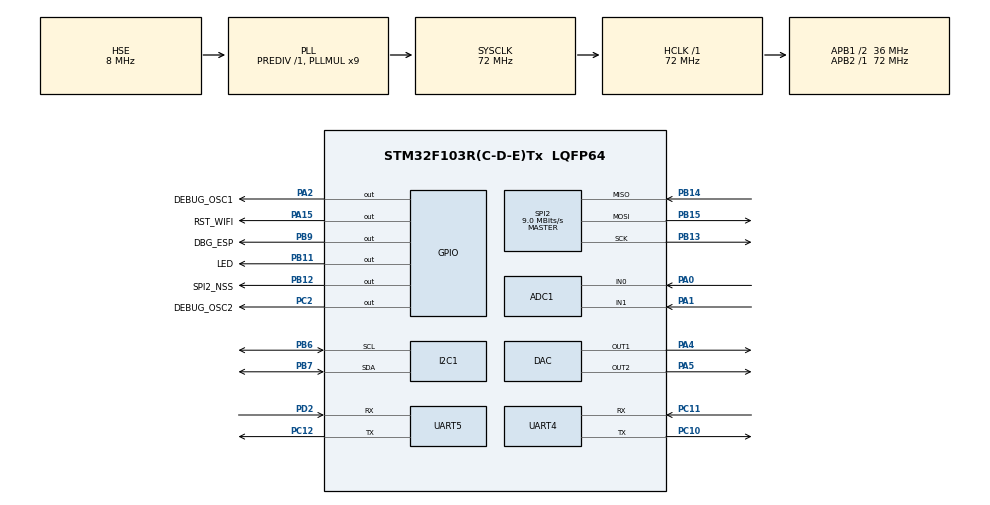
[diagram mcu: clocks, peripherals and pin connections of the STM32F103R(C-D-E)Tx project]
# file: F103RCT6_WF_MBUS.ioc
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ADC1.Channel-0\#ChannelRegularConversion=ADC_CHANNEL_0
ADC1.Channel-1\#ChannelRegularConversion=ADC_CHANNEL_1
ADC1.Channel-2\#ChannelRegularConversion=ADC_CHANNEL_TEMPSENSOR
ADC1.Channel-3\#ChannelRegularConversion=ADC_CHANNEL_VREFINT
ADC1.ContinuousConvMode=ENABLE
ADC1.NbrOfConversion=4
ADC1.NbrOfConversionFlag=1
ADC1.Rank-0\#ChannelRegularConversion=1
ADC1.Rank-1\#ChannelRegularConversion=2
ADC1.Rank-2\#ChannelRegularConversion=3
ADC1.Rank-3\#ChannelRegularConversion=4
ADC1.SamplingTime-0\#ChannelRegularConversion=ADC_SAMPLETIME_239CYCLES_5
ADC1.SamplingTime-1\#ChannelRegularConversion=ADC_SAMPLETIME_239CYCLES_5
ADC1.SamplingTime-2\#ChannelRegularConversion=ADC_SAMPLETIME_239CYCLES_5
ADC1.SamplingTime-3\#ChannelRegularConversion=ADC_SAMPLETIME_239CYCLES_5
ADC1.master=1
DAC.DAC_Trigger=DAC_TRIGGER_T6_TRGO
DAC.DAC_Trigger2=DAC_TRIGGER_T6_TRGO
Dma.ADC1.0.Direction=DMA_PERIPH_TO_MEMORY
Dma.ADC1.0.Instance=DMA1_Channel1
Dma.ADC1.0.MemDataAlignment=DMA_MDATAALIGN_WORD
Dma.ADC1.0.MemInc=DMA_MINC_ENABLE
Dma.ADC1.0.Mode=DMA_CIRCULAR
Dma.ADC1.0.PeriphDataAlignment=DMA_PDATAALIGN_WORD
Dma.ADC1.0.PeriphInc=DMA_PINC_DISABLE
Dma.ADC1.0.Priority=DMA_PRIORITY_LOW
Dma.DAC_CH1.1.Direction=DMA_MEMORY_TO_PERIPH
Dma.DAC_CH1.1.Instance=DMA2_Channel3
Dma.DAC_CH1.1.MemDataAlignment=DMA_MDATAALIGN_WORD
Dma.DAC_CH1.1.MemInc=DMA_MINC_ENABLE
Dma.DAC_CH1.1.Mode=DMA_CIRCULAR
Dma.DAC_CH1.1.PeriphDataAlignment=DMA_PDATAALIGN_WORD
Dma.DAC_CH1.1.PeriphInc=DMA_PINC_DISABLE
Dma.DAC_CH1.1.Priority=DMA_PRIORITY_LOW
Dma.DAC_CH2.2.Direction=DMA_MEMORY_TO_PERIPH
Dma.DAC_CH2.2.Instance=DMA2_Channel4
Dma.DAC_CH2.2.MemDataAlignment=DMA_MDATAALIGN_WORD
Dma.DAC_CH2.2.MemInc=DMA_MINC_ENABLE
Dma.DAC_CH2.2.Mode=DMA_CIRCULAR
Dma.DAC_CH2.2.PeriphDataAlignment=DMA_PDATAALIGN_WORD
Dma.DAC_CH2.2.PeriphInc=DMA_PINC_DISABLE
Dma.DAC_CH2.2.Priority=DMA_PRIORITY_LOW
Dma.Request0=ADC1
Dma.Request1=DAC_CH1
Dma.Request2=DAC_CH2
Mcu.Family=STM32F1
Mcu.Name=STM32F103R(C-D-E)Tx
Mcu.Package=LQFP64
NVIC.DMA1_Channel1_IRQn=true\:0\:0\:false\:false\:true\:false\:true\:true
NVIC.DMA2_Channel3_IRQn=true\:0\:0\:false\:false\:true\:false\:true\:true
NVIC.DMA2_Channel4_5_IRQn=true\:0\:0\:false\:false\:true\:false\:true\:true
NVIC.PriorityGroup=NVIC_PRIORITYGROUP_4
NVIC.TIM2_IRQn=true\:0\:0\:false\:false\:true\:true\:true\:true
NVIC.UART4_IRQn=true\:0\:0\:false\:false\:true\:true\:true\:true
NVIC.UART5_IRQn=true\:0\:0\:true\:false\:true\:true\:true\:true
PA0-WKUP.Signal=ADCx_IN0
PA1.Signal=ADCx_IN1
PA13.Mode=Trace_Asynchronous_SW
PA13.Signal=SYS_JTMS-SWDIO
PA14.Mode=Trace_Asynchronous_SW
PA14.Signal=SYS_JTCK-SWCLK
PA15.GPIO_Label=RST_WIFI
PA15.PinState=GPIO_PIN_SET
PA15.Signal=GPIO_Output
PA2.GPIO_Label=DEBUG_OSC1
PA2.Signal=GPIO_Output
PA4.Signal=COMP_DAC1_group
PA5.Signal=COMP_DAC2_group
PB11.GPIO_Label=LED
PB11.GPIO_Speed=GPIO_SPEED_FREQ_LOW
PB11.Signal=GPIO_Output
PB12.GPIO_Label=SPI2_NSS
PB12.GPIO_Speed=GPIO_SPEED_FREQ_HIGH
PB12.Signal=GPIO_Output
PB13.Mode=Full_Duplex_Master
PB13.Signal=SPI2_SCK
PB14.Mode=Full_Duplex_Master
PB14.Signal=SPI2_MISO
PB15.Mode=Full_Duplex_Master
PB15.Signal=SPI2_MOSI
PB3.Mode=Trace_Asynchronous_SW
PB3.Signal=SYS_JTDO-TRACESWO
PB6.GPIO_Pu=GPIO_PULLUP
PB6.Mode=I2C
PB6.Signal=I2C1_SCL
PB7.GPIO_Pu=GPIO_PULLUP
PB7.Mode=I2C
PB7.Signal=I2C1_SDA
PB9.GPIO_Label=DBG_ESP
PB9.GPIO_Speed=GPIO_SPEED_FREQ_HIGH
PB9.Signal=GPIO_Output
PC10.Mode=Asynchronous
PC10.Signal=UART4_TX
PC11.Mode=Asynchronous
PC11.Signal=UART4_RX
PC12.Mode=Asynchronous
PC12.Signal=UART5_TX
PC2.GPIO_Label=DEBUG_OSC2
PC2.Signal=GPIO_Output
PD0-OSC_IN.Mode=HSE-External-Oscillator
PD0-OSC_IN.Signal=RCC_OSC_IN
PD1-OSC_OUT.Mode=HSE-External-Oscillator
PD1-OSC_OUT.Signal=RCC_OSC_OUT
PD2.Mode=Asynchronous
PD2.Signal=UART5_RX
ProjectManager.HeapSize=0x200
ProjectManager.StackSize=0x400
ProjectManager.TargetToolchain=STM32CubeIDE
RCC.ADCPresc=RCC_ADCPCLK2_DIV6
RCC.AHBFreq_Value=72000000
RCC.APB1CLKDivider=RCC_HCLK_DIV2
RCC.APB1Freq_Value=36000000
RCC.APB1TimFreq_Value=72000000
RCC.APB2Freq_Value=72000000
RCC.APB2TimFreq_Value=72000000
RCC.EnbaleCSS=true
RCC.HCLKFreq_Value=72000000
RCC.PLLMUL=RCC_PLL_MUL9
RCC.PLLSourceVirtual=RCC_PLLSOURCE_HSE
RCC.SYSCLKFreq_VALUE=72000000
RCC.SYSCLKSource=RCC_SYSCLKSOURCE_PLLCLK
RCC.USBFreq_Value=72000000
RTC.Date=25
RTC.Hours=19
RTC.Minutes=30
RTC.Month=RTC_MONTH_MARCH
RTC.Seconds=31
RTC.WeekDay=RTC_WEEKDAY_THURSDAY
SH.ADCx_IN0.0=ADC1_IN0,IN0
SH.ADCx_IN1.0=ADC1_IN1,IN1
SH.COMP_DAC1_group.0=DAC_OUT1,DAC_OUT1
SH.COMP_DAC2_group.0=DAC_OUT2,DAC_OUT2
SPI2.BaudRatePrescaler=SPI_BAUDRATEPRESCALER_4
SPI2.CLKPhase=SPI_PHASE_1EDGE
SPI2.CalculateBaudRate=9.0 MBits/s
SPI2.Direction=SPI_DIRECTION_2LINES
SPI2.Mode=SPI_MODE_MASTER
SPI2.VirtualType=VM_MASTER
TIM2.AutoReloadPreload=TIM_AUTORELOAD_PRELOAD_ENABLE
TIM2.Channel-Output\ Compare1\ No\ Output=TIM_CHANNEL_1
TIM2.OCMode_1=TIM_OCMODE_INACTIVE
TIM2.Period=90
TIM2.Prescaler=72
TIM6.Period=10000-1
TIM6.Prescaler=7200-1
TIM6.TIM_MasterOutputTrigger=TIM_TRGO_UPDATE
UART4.VirtualMode=Asynchronous
UART5.VirtualMode=Asynchronous
VP_ADC1_TempSens_Input.Mode=IN-TempSens
VP_ADC1_Vref_Input.Mode=IN-Vrefint
VP_RTC_VS_RTC_Activate.Mode=RTC_Enabled
VP_RTC_VS_RTC_Calendar.Mode=RTC_Calendar
VP_TIM2_VS_ClockSourceINT.Mode=Internal
VP_TIM2_VS_OPM.Mode=OPM_bit
VP_TIM2_VS_no_output1.Mode=Output Compare1 No Output
VP_TIM6_VS_ClockSourceINT.Mode=Enable_Timer
board=custom

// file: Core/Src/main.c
/* USER CODE BEGIN Header */
/**
  ******************************************************************************
  * @file           : main.c
  * @brief          : Main program body
  ******************************************************************************
  * @attention
  *
  * <h2><center>&copy; Copyright (c) 2021 STMicroelectronics.
  * All rights reserved.</center></h2>
  *
  * This software component is licensed by ST under BSD 3-Clause license,
  * the "License"; You may not use this file except in compliance with the
  * License. You may obtain a copy of the License at:
  *                        opensource.org/licenses/BSD-3-Clause
  *
  ******************************************************************************
  */
/* USER CODE END Header */
#include "main.h"

/* USER CODE BEGIN Includes */
#include "ESP8266_Chelo.h"
#include "ModBUS_Chelo.h"
#include "STR_Chelo.h"
#include "ETH_W5100.h"
#include "string.h"
#include "stdio.h"
/* USER CODE END Includes */

/* USER CODE BEGIN PD */
#define TOK 1
#define FIND 0
#define SERVIDOR 1
#define CLIENTE 0
/* USER CODE END PD */

/* USER CODE BEGIN PM */
#define ITM_Port32(n)   (*((volatile unsigned long *)(0xE0000000+4*n)))
/* USER CODE END PM */

ADC_HandleTypeDef hadc1;
DMA_HandleTypeDef hdma_adc1;

DAC_HandleTypeDef hdac;
DMA_HandleTypeDef hdma_dac_ch1;
DMA_HandleTypeDef hdma_dac_ch2;

I2C_HandleTypeDef hi2c1;

RTC_HandleTypeDef hrtc;

SPI_HandleTypeDef hspi2;

TIM_HandleTypeDef htim2;
TIM_HandleTypeDef htim6;

UART_HandleTypeDef huart4;
UART_HandleTypeDef huart5;

/* USER CODE BEGIN PV */
uint32_t ms_ticks=0,
		 min_ticks=0;

uint32_t ADC_VAL[4];
uint32_t DAC_VAL[2];
uint32_t DAC_VAL2[2];

struct WIFI wf;
struct MBUS mb_eth;			// Instancia Ethernet
struct MBUS mb_wf;		// Instancia Wi-Fi

char post[512];
char body[512];
char ENDPOINT[]="/tepelco/add",
     SERVER_IP[]="192.168.0.91",
     PORT[]="8000";
uint16_t ADDR=1;

uint8_t ETH_DBG_EN=0;
uint8_t WF_SND_FLAG=0;
int wf_snd_flag_ticks=0;

uint32_t REG[254];		//Registros para ver ModBUS

struct W5100_SPI ETH; // Instancia de la comunicación Ethernet
// ****** Begin Firmware Registers ****** //

uint16_t W5100_socket0_STATUS ;

// ****** End Firmware Registers ****** //

// ****** Begin Socket Memory assignment ****** //
uint16_t 	S0_get_size = 0,
			S0_get_offset = 0,
			S0_RX_RD = 0,
			S0_get_start_address = 0,
			tx_mem_pointer=0,
			rx_mem_pointer=0,
			destination_addr=0,
			left_size=0,
			upper_size=0,
			S0_READ_RX_RD=0,
			S0_bf_rcv_offset=0,

			Sn_TX_WR=0,
			get_offset=0,
			get_free_size=0,
			get_start_address=0,
			source_addr=0,
			send_size=0;

// ****** End Socket Memory assignment ****** //
uint8_t spi_Data[64],
		spi_no_debug=0;

uint8_t ESP_REinit=0,			//Conteo de intentos de incializacion
		ESP_InitF=0,			//Flag de error por no encontrar la sentencia
		ESP_HW_Init=0,
		EN_UART2_TMR=0,
		EN_UART1_TMR=0,
		FLAG_TIMEOUT=0,
		FLAG_UART2=0,
		resultado=0,
		error_rxdata=0,
		debug_ser=1,
		esp_restart=0,
		conexion,
		asc=0,
		//--------debug----//
		CP_ready=0,
		CP_ai=0;
		SPI_READ_EN=0;

char	UART_RX_vect[512],
		datarx_uart1[512],
		datarx1[2],
		UART_RX_vect_hld[512],
		WIFI_NET[]="PLC_DEV",//WIFI_NET[]="Fibertel WiFi967 2.4GHz",//WIFI_NET[]="PLC_DEV",//
		WIFI_PASS[]="12345678",//WIFI_PASS[]="0042880756",//WIFI_PASS[]="12345678",//
		TCP_SERVER[]="192.168.0.91",//TCP_SERVER[]="192.168.0.65",//TCP_SERVER[]="192.168.0.102",//TCP_SERVER[]="192.168.0.47",
		TCP_PORT[]="8000",//TCP_PORT[]="502",
		TCP_SERVER_LOCAL[]="192.168.0.32",//TCP_SERVER[]="192.168.0.47",
		TCP_SERVER_LOCAL_GWY[]="192.168.0.100",//TCP_SERVER[]="192.168.0.47",
		TCP_SERVER_LOCAL_MSK[]="255.255.255.0",//TCP_SERVER[]="192.168.0.47",
		TCP_PORT_LOCAL[]="502",
		RX2[]="RX.",
		//RX[512],
		CMP_VECT[]="\0",
	    TESTA[32],
		TESTB[32],
		TESTC[32],
		UART_RX_byte[2];

int UART_RX_items=0,
    ESP_ticks=0,
	MBUS_ticks=0,
	MB_TOUT_ticks=0,
	items_rx_debug=0,
    ticks=0,
	ntesta=17,
	ntestb=4,
	ntestc=0,
	postesta=0,
	funcion=0,
	uart1pass=0,
	UART1_ticks=0,
	FLAG_UART1=0,
	chr_pos=0,
	items_rx=0,

	UART_RX_pos=0;

long dbgn=0;

/* USER CODE END PV */

void SystemClock_Config(void);
static void MX_GPIO_Init(void);
static void MX_DMA_Init(void);
static void MX_ADC1_Init(void);
static void MX_RTC_Init(void);
static void MX_DAC_Init(void);
static void MX_TIM6_Init(void);
static void MX_UART4_Init(void);
static void MX_TIM2_Init(void);
static void MX_UART5_Init(void);
static void MX_I2C1_Init(void);
static void MX_SPI2_Init(void);
/* USER CODE BEGIN PFP */
uint8_t ESP8266_HW_Init(UART_HandleTypeDef *);
void ESP8266_HW_Reset(void);
void Actualizar_RXdata(int );
void BorrarVect(void);
/* USER CODE END PFP */

int main(void)
{
  /* USER CODE BEGIN 1 */

	//----------------------- ETHERNET W5100 Environment-------------------------//

	//	GATEWAY ADDRESS
		ETH.GAR[0]=192;
		ETH.GAR[1]=168;
		ETH.GAR[2]=0;
		ETH.GAR[3]=1;
	//	SUBNET MASK
		ETH.SUBR[0]=255;
		ETH.SUBR[1]=255;
		ETH.SUBR[2]=255;
		ETH.SUBR[3]=0;
	//	MAC ADDRESS
		ETH.SHAR[0]=0x00;
		ETH.SHAR[1]=0x08;
		ETH.SHAR[2]=0xDC;
		ETH.SHAR[3]=0x00;
		ETH.SHAR[4]=0x00;
		ETH.SHAR[5]=0x01;

	//	IP ADDRESS
		ETH.SIPR[0]=192;
		ETH.SIPR[1]=168;
		ETH.SIPR[2]=0;
		ETH.SIPR[3]=34,
	//  Socket RX memory
		ETH.RMSR=0x55;
	//  Socket TX memory
		ETH.TMSR=0x55;
	//  S0 Port Number
		ETH.S0_PORT[0]=0x01;
		ETH.S0_PORT[1]=0xF6;
	//	S0 Client IP ADDRESS
		ETH.S0_DIPR[0]=192;
		ETH.S0_DIPR[1]=168;
		ETH.S0_DIPR[2]=0;
		ETH.S0_DIPR[3]=3;
	//	S0 Client IP ADDRESS
		ETH.S0_DPORT[0]=0x01;
		ETH.S0_DPORT[1]=0xF6;

		ETH.gS0_RX_BASE = 0x6000;
		ETH.gS0_RX_MASK = 0x07FF;
		ETH.gS1_RX_BASE = 0x6800;
		ETH.gS1_RX_MASK = 0x07FF;
		ETH.gS2_RX_BASE = 0x7000;
		ETH.gS2_RX_MASK = 0x07FF;
		ETH.gS3_RX_BASE = 0x7800;
		ETH.gS3_RX_MASK = 0x07FF;
		ETH.gS0_TX_BASE = 0x4000;
		ETH.gS0_TX_MASK = 0x07FF;
		ETH.gS1_TX_BASE = 0x4800;
		ETH.gS1_TX_MASK = 0x07FF;
		ETH.gS2_TX_BASE = 0x5000;
		ETH.gS2_TX_MASK = 0x07FF;
		ETH.gS3_TX_BASE = 0x5800;
		ETH.gS3_TX_MASK = 0x07FF;

		ETH.S0_ENserver = 0;			//Actúa como servidor S0_ENserver=1 o cliente S0_ENserver=0

		//----------------------- ETHERNET W5100 Environment-------------------------//

	  //----------------------- WIFI ------------------------//
 	  	Inicializar(&wf); 									//Borra todos los registros de la estructura
		strcpy(wf._WF_Net, WIFI_NET);						//Nombre de la red WIFI  a conectar Fibertel WiFi967 2.4GHz
		strcpy(wf._WF_Pass, WIFI_PASS);						//Password de la red WIFI
		strcpy(wf._TCP_Remote_Server_IP, TCP_SERVER);		//char _TCP_Remote_Server_IP[16];		//IP del Servidor TCP
		strcpy(wf._TCP_Remote_Server_Port, TCP_PORT);		//char _TCP_Remote_Server_Port[16];			//Puerto del Servidor TCP
		strcpy(wf._TCP_Local_Server_IP, TCP_SERVER_LOCAL);
		strcpy(wf._TCP_Local_Server_GWY, TCP_SERVER_LOCAL_GWY);
		strcpy(wf._TCP_Local_Server_MSK, TCP_SERVER_LOCAL_MSK);
		strcpy(wf._TCP_Local_Server_Port, TCP_PORT_LOCAL);
		wf._TCP_Local_Server_EN=0;							//Habilito el Servidor Local
		wf._data2SND[0]=0x00;//strcpy(wf._data2SND,"01;03;00;00;00;0A;C5;CD");//strcpy(wf._data2SND,"20;352;52#");
		wf._data2SND[1]=0x00;
		wf._data2SND[2]=0x00;
		wf._data2SND[3]=0x00;
		wf._data2SND[4]=0x00;
		wf._data2SND[5]=0x06;
		wf._data2SND[6]=0x01;
		wf._data2SND[7]=0x03;
		wf._data2SND[8]=0x00;//strcpy(wf._data2SND,"01;03;00;00;00;0A;C5;CD");//strcpy(wf._data2SND,"20;352;52#");
		wf._data2SND[9]=0x00;
		wf._data2SND[10]=0x00;
		wf._data2SND[11]=0x0A;
		wf._data2SND[12]=0x00;
		wf._data2SND[13]=0x33;
		wf._data2SND[14]=0x34;
		wf._data2SND[15]=0x35;
		wf._n_D2SND=12;
		wf._estado_conexion=100;//Si no se define no arranca	//wf._estado_conexion=1;					//Arranco en WiFi Desconectado
		wf._automatizacion=WF_CONNECT_TCP;//wf._automatizacion=WF_SEND;
		//wf._send_data=1;
		// ----------- INICIO - Seteo de módulo Ethernet W5100 ----------- //
	    // Conectado a SPI2
		// PIN NSS - PortB 12
		spi_no_debug=1;
		ETH.NSS_PORT=GPIOB;
		ETH.NSS_PIN=GPIO_PIN_12;
		ETH.SPI= &hspi2;

		// ----------- FIN - Seteo de módulo Ethernet W5100 ----------- //

	 //----------------------- WIFI ------------------------//

	 //---------------------- ModBUS -----------------------//

		ModBUS_Config(&mb_eth);		//ETHERNET como cliente TCP envía  ModBUS
		mb_eth._mode = CLIENTE;
		ModBUS_Config(&mb_wf);	//WIFI como servidor TCP, recibe comadno ModBUS
		mb_wf._mode = CLIENTE;
		ModBUS_F03_Assign(&mb_wf,3,0xAA55);

	 //---------------------- ModBUS -----------------------//

  /* USER CODE END 1 */

  /* MCU Configuration--------------------------------------------------------*/

  /* Reset of all peripherals, Initializes the Flash interface and the Systick. */
  HAL_Init();

  /* Configure the system clock */
  SystemClock_Config();

  /* USER CODE BEGIN SysInit */
  SysTick_Config(SystemCoreClock/1000);
  /* USER CODE END SysInit */

  /* Initialize all configured peripherals */
  MX_GPIO_Init();
  MX_DMA_Init();
  MX_ADC1_Init();
  MX_RTC_Init();
  MX_DAC_Init();
  MX_TIM6_Init();
  MX_UART4_Init();
  MX_TIM2_Init();
  MX_UART5_Init();
  MX_I2C1_Init();
  MX_SPI2_Init();
  /* USER CODE BEGIN 2 */
  ITM0_Write("\r\n INICIO OK\r\n",strlen("\r\n INICIO OK\r\n"));
  ESP8266_HW_Reset();	//WRNNG Hardcoded	  //Reseteo el modulo desde el pin de RESET
  if (wf._DBG_EN) ITM0_Write("\r\n RESET ESP8266 \r\n",strlen("\r\n RESET ESP8266 \r\n"));
  HAL_TIM_Base_Start(&htim6); //Timer como base de tiempo
  HAL_UART_Receive_IT(&huart4,(uint8_t *)UART_RX_byte,1);
  //HAL_UART_Receive_IT(&huart5,(uint8_t *)datarx1,1); //Habilito recepción por puerto serie 5
  if (ETH_DBG_EN)ITM0_Write("\r\n SET-UP W5100 \r\n",strlen("\r\n SET-UP W5100 \r\n"));
  //HAL_GPIO_WritePin(GPIOB, GPIO_PIN_6, GPIO_PIN_RESET);
	 ETH.operacion=SPI_WRITE;
	 ETH.TX[1]= 0;
	 ETH.TX[2]= 1;
	 ETH.TX[3]= 192;

	 eth_init(&ETH);

	 eth_socket_init(&ETH,0);

SPI_READ_EN=1;
ETH.operacion=SPI_READ;
ETH.TX[1]= 0;
ETH.TX[2]= 1;
ETH.TX[3]= 0;

  if(ESP8266_HW_Init(&huart4)==1)
  {
	  ESP_HW_Init=1;
	  //HAL_UART_Transmit(&huart5, "\r\n ESP HW Init OK\r\n",strlen("\r\n ESP HW Init OK\r\n"),100);
	  if (wf._DBG_EN) ITM0_Write("\r\n ESP HW Init OK\r\n",strlen("\r\n ESP HW Init OK\r\n"));
  }
  else
  {
	  ESP8266_HW_Reset(); //WRNNG Hardcoded
	  if(ESP8266_HW_Init(&huart4)==1)
	  {
		  ESP_HW_Init=1;
		  //HAL_UART_Transmit(&huart5, "\r\n ESP HW Init OK\r\n",strlen("\r\n ESP HW Init OK\r\n"),100);
		  if (wf._DBG_EN) ITM0_Write("\r\n ESP HW Init OK\r\n",strlen("\r\n ESP HW Init OK\r\n"));
	  }
	  else
	  {
		  ESP_HW_Init=0;
		  //HAL_UART_Transmit(&huart5, "\r\n ESP HW Init Fail\r\n",strlen("\r\n ESP HW Init Fail\r\n"),100);
		  if (wf._DBG_EN)  ITM0_Write("\r\n ESP HW Init Fail\r\n",strlen("\r\n ESP HW Init Fail\r\n"));
	  }
  }

  HAL_Delay(1000);

  /* USER CODE END 2 */

  /* Infinite loop */
  /* USER CODE BEGIN WHILE */
  while (1)
  {//2
    /* USER CODE END WHILE */

    /* USER CODE BEGIN 3 */
//----------------INSTRUCCIONS POR PUERTO SERIE---------------------

//----------------INSTRUCCIONS POR PUERTO SERIE---------------------

/**************[ INICIO PIDO ENVIAR DATOS ]**************/

	  if (ESP_HW_Init==1)
	  {
			if((WF_SND_FLAG==1)&&(wf._TCP_Local_Server_EN==0)&&(wf._estado_conexion>=609)&&(ETH.S0_data_available))
			{	ETH.S0_data_available=0;
				wf_snd_flag_ticks=0;
				WF_SND_FLAG=0;
				/*ModBUS_F03_Request(&mb_wf, 0 , 10);
				ModBUS(&mb_wf);							// Create ModBUS info to be sent
				CopiaVector(wf._data2SND,mb_wf._MBUS_2SND,mb_wf._n_MBUS_2SND,0,'A');
				wf._n_D2SND=mb_wf._n_MBUS_2SND;*/

				if( httpPOST(	ENDPOINT, SERVER_IP,PORT,
								ModBUS_F03_Read(&mb_eth,0),
								ModBUS_F03_Read(&mb_eth,1),
								ModBUS_F03_Read(&mb_eth,2),
								ModBUS_F03_Read(&mb_eth,3),
								ModBUS_F03_Read(&mb_eth,4),
								ModBUS_F03_Read(&mb_eth,5),
								ModBUS_F03_Read(&mb_eth,6),
								ModBUS_F03_Read(&mb_eth,7),
								ModBUS_F03_Read(&mb_eth,8),
								ModBUS_F03_Read(&mb_eth,9),
								ADDR,
								post, body, 512))

				{
							CopiaVector(wf._data2SND,post,strlen(post),0,'A');
							wf._n_D2SND=strlen(post);
							if(wf._automatizacion < WF_SEND)		// Send only with automation sent diasabled
							{
								EnviarDatos(&wf);
								wf._estado_conexion=TCP_SND_EN_CURSO;
							}
				}
			}
	  }
/**************[ FIN PIDO ENVIAR DATOS ]**************/

		if ((FLAG_UART2==1)||(FLAG_TIMEOUT==1))  //Si recibí datos o me fui por TimeOUT
		{
			if(FLAG_UART2==1)
				{
					CopiaVector(wf._uartRCVD,UART_RX_vect_hld,UART_RX_items,1,CMP_VECT);
					FLAG_UART2=0;

						if (error_rxdata==3)
						{
							error_rxdata=0;
						}
						if (error_rxdata==1)
						{
							error_rxdata=5;
							error_rxdata=0;
						}
				}
			if(FLAG_TIMEOUT==1)
					{
						FLAG_TIMEOUT=0;
					}

			if (ESP_HW_Init==1) //Si el módulo se inició correctamente
				{
					/*************** Copio y proceso info recibida ***************/
					wf._n_orig=UART_RX_items;
					CopiaVector(wf._uartRCVD,UART_RX_vect_hld,UART_RX_items,1,CMP_VECT);
					resultado=AT_ESP8266_ND(&wf);

					/*************** Si recibo datos y estan correctos me fijo que son ***************/

					if ((wf._new_data_rcv==1)&&(wf._estado_rcv_data==99))
					{

						CopiaVector(mb_wf._MBUS_RCVD,wf._dataRCV,wf._n_dataRCV,0,'A');
						mb_wf._n_MBUS_RCVD=wf._n_dataRCV;

						ModBUS(&mb_wf);

						CopiaVector(wf._data2SND,mb_wf._MBUS_2SND,mb_wf._n_MBUS_2SND,0,'A');
						wf._n_D2SND=mb_wf._n_MBUS_2SND;
						wf._new_data_rcv=0;//
						wf._send_data=1;
					}else
						{
							// DATA ERRONEA NO SE PROCESA
						}
					}

		}

		if (ESP_HW_Init==1) //Si el módulo se inició correctamente
			{
				conexion=WiFi_Conn_ND(&wf,&huart4,1);	//Tiene que ir en el main el chequeo es constante
			}
		if (esp_restart==1) //WRNNG Hardcoded RESET WIFI
			{
				HAL_GPIO_WritePin(GPIOA, GPIO_PIN_15, GPIO_PIN_RESET);
				HAL_Delay(2000);//210419
				HAL_GPIO_WritePin(GPIOA, GPIO_PIN_15, GPIO_PIN_SET);
				HAL_Delay(5000);//210419
				esp_restart=0;
			}

  }//2
  /* USER CODE END 3 */
}

void SystemClock_Config(void)
{
  RCC_OscInitTypeDef RCC_OscInitStruct = {0};
  RCC_ClkInitTypeDef RCC_ClkInitStruct = {0};
  RCC_PeriphCLKInitTypeDef PeriphClkInit = {0};

  /** Initializes the RCC Oscillators according to the specified parameters
  * in the RCC_OscInitTypeDef structure.
  */
  RCC_OscInitStruct.OscillatorType = RCC_OSCILLATORTYPE_LSI|RCC_OSCILLATORTYPE_HSE;
  RCC_OscInitStruct.HSEState = RCC_HSE_ON;
  RCC_OscInitStruct.HSEPredivValue = RCC_HSE_PREDIV_DIV1;
  RCC_OscInitStruct.HSIState = RCC_HSI_ON;
  RCC_OscInitStruct.LSIState = RCC_LSI_ON;
  RCC_OscInitStruct.PLL.PLLState = RCC_PLL_ON;
  RCC_OscInitStruct.PLL.PLLSource = RCC_PLLSOURCE_HSE;
  RCC_OscInitStruct.PLL.PLLMUL = RCC_PLL_MUL9;
  if (HAL_RCC_OscConfig(&RCC_OscInitStruct) != HAL_OK)
  {
    Error_Handler();
  }

  /** Initializes the CPU, AHB and APB buses clocks
  */
  RCC_ClkInitStruct.ClockType = RCC_CLOCKTYPE_HCLK|RCC_CLOCKTYPE_SYSCLK
                              |RCC_CLOCKTYPE_PCLK1|RCC_CLOCKTYPE_PCLK2;
  RCC_ClkInitStruct.SYSCLKSource = RCC_SYSCLKSOURCE_PLLCLK;
  RCC_ClkInitStruct.AHBCLKDivider = RCC_SYSCLK_DIV1;
  RCC_ClkInitStruct.APB1CLKDivider = RCC_HCLK_DIV2;
  RCC_ClkInitStruct.APB2CLKDivider = RCC_HCLK_DIV1;

  if (HAL_RCC_ClockConfig(&RCC_ClkInitStruct, FLASH_LATENCY_2) != HAL_OK)
  {
    Error_Handler();
  }
  PeriphClkInit.PeriphClockSelection = RCC_PERIPHCLK_RTC|RCC_PERIPHCLK_ADC;
  PeriphClkInit.RTCClockSelection = RCC_RTCCLKSOURCE_LSI;
  PeriphClkInit.AdcClockSelection = RCC_ADCPCLK2_DIV6;
  if (HAL_RCCEx_PeriphCLKConfig(&PeriphClkInit) != HAL_OK)
  {
    Error_Handler();
  }

  /** Enables the Clock Security System
  */
  HAL_RCC_EnableCSS();
}

static void MX_ADC1_Init(void)
{

  ADC_ChannelConfTypeDef sConfig = {0};

  /** Common config
  */
  hadc1.Instance = ADC1;
  hadc1.Init.ScanConvMode = ADC_SCAN_ENABLE;
  hadc1.Init.ContinuousConvMode = ENABLE;
  hadc1.Init.DiscontinuousConvMode = DISABLE;
  hadc1.Init.ExternalTrigConv = ADC_SOFTWARE_START;
  hadc1.Init.DataAlign = ADC_DATAALIGN_RIGHT;
  hadc1.Init.NbrOfConversion = 4;
  if (HAL_ADC_Init(&hadc1) != HAL_OK)
  {
    Error_Handler();
  }

  /** Configure Regular Channel
  */
  sConfig.Channel = ADC_CHANNEL_0;
  sConfig.Rank = ADC_REGULAR_RANK_1;
  sConfig.SamplingTime = ADC_SAMPLETIME_239CYCLES_5;
  if (HAL_ADC_ConfigChannel(&hadc1, &sConfig) != HAL_OK)
  {
    Error_Handler();
  }

  /** Configure Regular Channel
  */
  sConfig.Channel = ADC_CHANNEL_1;
  sConfig.Rank = ADC_REGULAR_RANK_2;
  if (HAL_ADC_ConfigChannel(&hadc1, &sConfig) != HAL_OK)
  {
    Error_Handler();
  }

  /** Configure Regular Channel
  */
  sConfig.Channel = ADC_CHANNEL_TEMPSENSOR;
  sConfig.Rank = ADC_REGULAR_RANK_3;
  if (HAL_ADC_ConfigChannel(&hadc1, &sConfig) != HAL_OK)
  {
    Error_Handler();
  }

  /** Configure Regular Channel
  */
  sConfig.Channel = ADC_CHANNEL_VREFINT;
  sConfig.Rank = ADC_REGULAR_RANK_4;
  if (HAL_ADC_ConfigChannel(&hadc1, &sConfig) != HAL_OK)
  {
    Error_Handler();
  }

}

static void MX_DAC_Init(void)
{

  DAC_ChannelConfTypeDef sConfig = {0};

  /** DAC Initialization
  */
  hdac.Instance = DAC;
  if (HAL_DAC_Init(&hdac) != HAL_OK)
  {
    Error_Handler();
  }

  /** DAC channel OUT1 config
  */
  sConfig.DAC_Trigger = DAC_TRIGGER_T6_TRGO;
  sConfig.DAC_OutputBuffer = DAC_OUTPUTBUFFER_ENABLE;
  if (HAL_DAC_ConfigChannel(&hdac, &sConfig, DAC_CHANNEL_1) != HAL_OK)
  {
    Error_Handler();
  }

  /** DAC channel OUT2 config
  */
  if (HAL_DAC_ConfigChannel(&hdac, &sConfig, DAC_CHANNEL_2) != HAL_OK)
  {
    Error_Handler();
  }

}

static void MX_I2C1_Init(void)
{

  hi2c1.Instance = I2C1;
  hi2c1.Init.ClockSpeed = 100000;
  hi2c1.Init.DutyCycle = I2C_DUTYCYCLE_2;
  hi2c1.Init.OwnAddress1 = 0;
  hi2c1.Init.AddressingMode = I2C_ADDRESSINGMODE_7BIT;
  hi2c1.Init.DualAddressMode = I2C_DUALADDRESS_DISABLE;
  hi2c1.Init.OwnAddress2 = 0;
  hi2c1.Init.GeneralCallMode = I2C_GENERALCALL_DISABLE;
  hi2c1.Init.NoStretchMode = I2C_NOSTRETCH_DISABLE;
  if (HAL_I2C_Init(&hi2c1) != HAL_OK)
  {
    Error_Handler();
  }

}

static void MX_RTC_Init(void)
{

  RTC_TimeTypeDef sTime = {0};
  RTC_DateTypeDef DateToUpdate = {0};

  /** Initialize RTC Only
  */
  hrtc.Instance = RTC;
  hrtc.Init.AsynchPrediv = RTC_AUTO_1_SECOND;
  hrtc.Init.OutPut = RTC_OUTPUTSOURCE_ALARM;
  if (HAL_RTC_Init(&hrtc) != HAL_OK)
  {
    Error_Handler();
  }

  /** Initialize RTC and set the Time and Date
  */
  sTime.Hours = 0x19;
  sTime.Minutes = 0x30;
  sTime.Seconds = 0x31;

  if (HAL_RTC_SetTime(&hrtc, &sTime, RTC_FORMAT_BCD) != HAL_OK)
  {
    Error_Handler();
  }
  DateToUpdate.WeekDay = RTC_WEEKDAY_THURSDAY;
  DateToUpdate.Month = RTC_MONTH_MARCH;
  DateToUpdate.Date = 0x25;
  DateToUpdate.Year = 0x0;

  if (HAL_RTC_SetDate(&hrtc, &DateToUpdate, RTC_FORMAT_BCD) != HAL_OK)
  {
    Error_Handler();
  }

}

static void MX_SPI2_Init(void)
{

  /* SPI2 parameter configuration*/
  hspi2.Instance = SPI2;
  hspi2.Init.Mode = SPI_MODE_MASTER;
  hspi2.Init.Direction = SPI_DIRECTION_2LINES;
  hspi2.Init.DataSize = SPI_DATASIZE_8BIT;
  hspi2.Init.CLKPolarity = SPI_POLARITY_LOW;
  hspi2.Init.CLKPhase = SPI_PHASE_1EDGE;
  hspi2.Init.NSS = SPI_NSS_SOFT;
  hspi2.Init.BaudRatePrescaler = SPI_BAUDRATEPRESCALER_4;
  hspi2.Init.FirstBit = SPI_FIRSTBIT_MSB;
  hspi2.Init.TIMode = SPI_TIMODE_DISABLE;
  hspi2.Init.CRCCalculation = SPI_CRCCALCULATION_DISABLE;
  hspi2.Init.CRCPolynomial = 10;
  if (HAL_SPI_Init(&hspi2) != HAL_OK)
  {
    Error_Handler();
  }

}

static void MX_TIM2_Init(void)
{

  TIM_ClockConfigTypeDef sClockSourceConfig = {0};
  TIM_MasterConfigTypeDef sMasterConfig = {0};
  TIM_OC_InitTypeDef sConfigOC = {0};

  htim2.Instance = TIM2;
  htim2.Init.Prescaler = 72;
  htim2.Init.CounterMode = TIM_COUNTERMODE_UP;
  htim2.Init.Period = 90;
  htim2.Init.ClockDivision = TIM_CLOCKDIVISION_DIV1;
  htim2.Init.AutoReloadPreload = TIM_AUTORELOAD_PRELOAD_ENABLE;
  if (HAL_TIM_Base_Init(&htim2) != HAL_OK)
  {
    Error_Handler();
  }
  sClockSourceConfig.ClockSource = TIM_CLOCKSOURCE_INTERNAL;
  if (HAL_TIM_ConfigClockSource(&htim2, &sClockSourceConfig) != HAL_OK)
  {
    Error_Handler();
  }
  if (HAL_TIM_OC_Init(&htim2) != HAL_OK)
  {
    Error_Handler();
  }
  if (HAL_TIM_OnePulse_Init(&htim2, TIM_OPMODE_SINGLE) != HAL_OK)
  {
    Error_Handler();
  }
  sMasterConfig.MasterOutputTrigger = TIM_TRGO_RESET;
  sMasterConfig.MasterSlaveMode = TIM_MASTERSLAVEMODE_DISABLE;
  if (HAL_TIMEx_MasterConfigSynchronization(&htim2, &sMasterConfig) != HAL_OK)
  {
    Error_Handler();
  }
  sConfigOC.OCMode = TIM_OCMODE_INACTIVE;
  sConfigOC.Pulse = 0;
  sConfigOC.OCPolarity = TIM_OCPOLARITY_HIGH;
  sConfigOC.OCFastMode = TIM_OCFAST_DISABLE;
  if (HAL_TIM_OC_ConfigChannel(&htim2, &sConfigOC, TIM_CHANNEL_1) != HAL_OK)
  {
    Error_Handler();
  }

}

static void MX_TIM6_Init(void)
{

  TIM_MasterConfigTypeDef sMasterConfig = {0};

  htim6.Instance = TIM6;
  htim6.Init.Prescaler = 7200-1;
  htim6.Init.CounterMode = TIM_COUNTERMODE_UP;
  htim6.Init.Period = 10000-1;
  htim6.Init.AutoReloadPreload = TIM_AUTORELOAD_PRELOAD_DISABLE;
  if (HAL_TIM_Base_Init(&htim6) != HAL_OK)
  {
    Error_Handler();
  }
  sMasterConfig.MasterOutputTrigger = TIM_TRGO_UPDATE;
  sMasterConfig.MasterSlaveMode = TIM_MASTERSLAVEMODE_DISABLE;
  if (HAL_TIMEx_MasterConfigSynchronization(&htim6, &sMasterConfig) != HAL_OK)
  {
    Error_Handler();
  }

}

static void MX_UART4_Init(void)
{

  huart4.Instance = UART4;
  huart4.Init.BaudRate = 115200;
  huart4.Init.WordLength = UART_WORDLENGTH_8B;
  huart4.Init.StopBits = UART_STOPBITS_1;
  huart4.Init.Parity = UART_PARITY_NONE;
  huart4.Init.Mode = UART_MODE_TX_RX;
  huart4.Init.HwFlowCtl = UART_HWCONTROL_NONE;
  huart4.Init.OverSampling = UART_OVERSAMPLING_16;
  if (HAL_UART_Init(&huart4) != HAL_OK)
  {
    Error_Handler();
  }

}

static void MX_UART5_Init(void)
{

  huart5.Instance = UART5;
  huart5.Init.BaudRate = 115200;
  huart5.Init.WordLength = UART_WORDLENGTH_8B;
  huart5.Init.StopBits = UART_STOPBITS_1;
  huart5.Init.Parity = UART_PARITY_NONE;
  huart5.Init.Mode = UART_MODE_TX_RX;
  huart5.Init.HwFlowCtl = UART_HWCONTROL_NONE;
  huart5.Init.OverSampling = UART_OVERSAMPLING_16;
  if (HAL_UART_Init(&huart5) != HAL_OK)
  {
    Error_Handler();
  }

}

static void MX_DMA_Init(void)
{

  /* DMA controller clock enable */
  __HAL_RCC_DMA1_CLK_ENABLE();
  __HAL_RCC_DMA2_CLK_ENABLE();

  /* DMA interrupt init */
  /* DMA1_Channel1_IRQn interrupt configuration */
  HAL_NVIC_SetPriority(DMA1_Channel1_IRQn, 0, 0);
  HAL_NVIC_EnableIRQ(DMA1_Channel1_IRQn);
  /* DMA2_Channel3_IRQn interrupt configuration */
  HAL_NVIC_SetPriority(DMA2_Channel3_IRQn, 0, 0);
  HAL_NVIC_EnableIRQ(DMA2_Channel3_IRQn);
  /* DMA2_Channel4_5_IRQn interrupt configuration */
  HAL_NVIC_SetPriority(DMA2_Channel4_5_IRQn, 0, 0);
  HAL_NVIC_EnableIRQ(DMA2_Channel4_5_IRQn);

}

static void MX_GPIO_Init(void)
{
  GPIO_InitTypeDef GPIO_InitStruct = {0};

  /* GPIO Ports Clock Enable */
  __HAL_RCC_GPIOD_CLK_ENABLE();
  __HAL_RCC_GPIOC_CLK_ENABLE();
  __HAL_RCC_GPIOA_CLK_ENABLE();
  __HAL_RCC_GPIOB_CLK_ENABLE();

  /*Configure GPIO pin Output Level */
  HAL_GPIO_WritePin(DEBUG_OSC2_GPIO_Port, DEBUG_OSC2_Pin, GPIO_PIN_RESET);

  /*Configure GPIO pin Output Level */
  HAL_GPIO_WritePin(DEBUG_OSC1_GPIO_Port, DEBUG_OSC1_Pin, GPIO_PIN_RESET);

  /*Configure GPIO pin Output Level */
  HAL_GPIO_WritePin(GPIOB, LED_Pin|SPI2_NSS_Pin|DBG_ESP_Pin, GPIO_PIN_RESET);

  /*Configure GPIO pin Output Level */
  HAL_GPIO_WritePin(RST_WIFI_GPIO_Port, RST_WIFI_Pin, GPIO_PIN_SET);

  /*Configure GPIO pin : DEBUG_OSC2_Pin */
  GPIO_InitStruct.Pin = DEBUG_OSC2_Pin;
  GPIO_InitStruct.Mode = GPIO_MODE_OUTPUT_PP;
  GPIO_InitStruct.Pull = GPIO_NOPULL;
  GPIO_InitStruct.Speed = GPIO_SPEED_FREQ_LOW;
  HAL_GPIO_Init(DEBUG_OSC2_GPIO_Port, &GPIO_InitStruct);

  /*Configure GPIO pins : DEBUG_OSC1_Pin RST_WIFI_Pin */
  GPIO_InitStruct.Pin = DEBUG_OSC1_Pin|RST_WIFI_Pin;
  GPIO_InitStruct.Mode = GPIO_MODE_OUTPUT_PP;
  GPIO_InitStruct.Pull = GPIO_NOPULL;
  GPIO_InitStruct.Speed = GPIO_SPEED_FREQ_LOW;
  HAL_GPIO_Init(GPIOA, &GPIO_InitStruct);

  /*Configure GPIO pin : LED_Pin */
  GPIO_InitStruct.Pin = LED_Pin;
  GPIO_InitStruct.Mode = GPIO_MODE_OUTPUT_PP;
  GPIO_InitStruct.Pull = GPIO_NOPULL;
  GPIO_InitStruct.Speed = GPIO_SPEED_FREQ_LOW;
  HAL_GPIO_Init(LED_GPIO_Port, &GPIO_InitStruct);

  /*Configure GPIO pins : SPI2_NSS_Pin DBG_ESP_Pin */
  GPIO_InitStruct.Pin = SPI2_NSS_Pin|DBG_ESP_Pin;
  GPIO_InitStruct.Mode = GPIO_MODE_OUTPUT_PP;
  GPIO_InitStruct.Pull = GPIO_NOPULL;
  GPIO_InitStruct.Speed = GPIO_SPEED_FREQ_HIGH;
  HAL_GPIO_Init(GPIOB, &GPIO_InitStruct);

}

/* USER CODE BEGIN 4 */

int ITM0_Write( char *ptr, int len)
{
 int DataIdx;

  for(DataIdx=0; DataIdx<len; DataIdx++)
  {
    ITM_SendChar(*ptr++);
  }
  return len;
}

void SysTick_Handler(void)
{
  /* USER CODE BEGIN SysTick_IRQn 0 */

	ms_ticks++;	//100 ms

	ESP_ticks++;
	if(mb_eth._w_answer) MB_TOUT_ticks++;
	if ( mb_eth._w_answer && (mb_eth._timeout < MB_TOUT_ticks))
		{
			mb_eth._w_answer=0;
			MB_TOUT_ticks=0;
		}

// ENVIO DATOS WF ---------------------------------------------------------------//

	if((wf._estado_conexion==609 || wf._estado_conexion==700)&&(wf._TCP_Local_Server_EN==0))  wf_snd_flag_ticks++;

	if(wf_snd_flag_ticks>= 2000 && wf._ejecucion!=1 && wf._TCP_Local_Server_EN==0)		 	  WF_SND_FLAG=1;

// ENVIO DATOS WF ----------------------------------- ---------------------------//

/**********************[ INICIO - EHTERNET WDG ] **********************/

	if(ETH.S0_status == 0)
	{
		ETH.ETH_WDG++;
		if (ETH.ETH_WDG>=64000)
		{
			ETH.ETH_WDG=64000;
		}
	}

/**********************[ FIN 	- EHTERNET WDG ] **********************/

if (ms_ticks==100)//(ms_ticks==250)//(ms_ticks==50)
  {
	  dbgn++;
	  ms_ticks=0;
	  min_ticks++;

	  	if(MBUS_ticks==360) MBUS_ticks=0;

	  	if (asc==0)  MBUS_ticks++;
	  	if (MBUS_ticks==100) asc=1;
	  	if (asc==1) MBUS_ticks--;
	  	if (MBUS_ticks==0) asc=0;

	  HAL_GPIO_TogglePin(GPIOB, GPIO_PIN_11);
	  if(spi_no_debug)
	  	  {
	  if(SPI_READ_EN)
	  {
	     ETH.S0_status=eth_rd_SOCKET_STAT(&ETH,0);

		  switch(ETH.S0_status)	//Check Socket status
	     {
			 case SOCK_CLOSED :
				 {
					 if (ETH_DBG_EN) ITM0_Write("\r\nS0_SOCK_CLOSED \r\n",strlen("\r\nS0_SOCK_CLOSED \r\n"));
					eth_wr_SOCKET_CMD(&ETH, 0 ,OPEN );
					 // Si no tengo intento de ARP por 5 segundos vuelvo a inicializar
					 if(ETH.ETH_WDG>=5000)
					 {
						 eth_init(&ETH);

						 eth_socket_init(&ETH,0);
					 }

				 }
			 break;
			 case  SOCK_INIT :
				 {
					 if(ETH.S0_ENserver == 1)
					 {
						 if (ETH_DBG_EN) ITM0_Write("\r\nS0_SOCK_INIT \r\n",strlen("\r\nS0_SOCK_INIT \r\n"));
							eth_wr_SOCKET_CMD(&ETH, 0, LISTEN );
							ETH.ETH_WDG=0;
					 }
					 else
					 {
						 	eth_wr_SOCKET_CMD(&ETH,0, CONNECT);																				//only for server
						 	if (ETH_DBG_EN)ITM0_Write("\r\nETH-W5100-CONNECT\r\n",strlen("\r\nETH-W5100-CONNECT\r\n"));
						 	ETH.ETH_WDG=0;
					 }

				 }
			 break;
			 case SOCK_LISTEN :
				 {
					 if (ETH_DBG_EN)ITM0_Write("\r\nS0_SOCK_LISTEN \r\n",strlen("\r\nS0_SOCK_LISTEN \r\n"));
					 ETH.ETH_WDG=0;
				 }
			 break;
			 case SOCK_SYNSENT :
				 {
					 if (ETH_DBG_EN)ITM0_Write("\r\nS0_SOCK_SYNSENT \r\n",strlen("\r\nS0_SOCK_SYNSENT \r\n"));
					 ETH.ETH_WDG=0;
				 }
			 break;
			 case SOCK_SYNRECV :
				 {
					 if (ETH_DBG_EN)ITM0_Write("\r\nS0_SOCK_SYNRECV \r\n",strlen("\r\nS0_SOCK_SYNRECV \r\n"));
					 ETH.ETH_WDG=0;
				 }
			 break;
			 case SOCK_ESTABLISHED :
				 {
					 if (ETH_DBG_EN)ITM0_Write("\r\nS0_SOCK_ESTABLISHED \r\n",strlen("\r\nS0_SOCK_ESTABLISHED \r\n"));
					 ETH.ETH_WDG=0;

					if (ETH.S0_ENserver == 1)  // Si el puerto Ethernet actúa como server (Recibe datos conexión mas pedido mbus
					{

							S0_get_size = SPI_ETH_REG(&ETH, S0_RX_SZ_ADDR_BASEHH,S0_RX_SZ_ADDR_BASEHL ,SPI_READ, spi_Data,2);
							if(S0_get_size != 0x00)
							{
								eth_rd_SOCKET_DATA(&ETH,0,&rx_mem_pointer,S0_get_size); // read socket data
								SPI_ETH_WR_REG_16(&ETH,S0_RX_RD0,rx_mem_pointer );		// write rx memory pointer
								eth_wr_SOCKET_CMD(&ETH,0,RECV);							// write command to execute
								while(eth_rd_SOCKET_CMD(&ETH,0))						// wait until end of command execution
								{}

								CopiaVector(mb_eth._MBUS_RCVD, ETH.data, S0_get_size, 0, ADC_VAL );
								mb_eth._n_MBUS_RCVD=S0_get_size;

								if(S0_get_size > 0)	{ ETH.S0_data_available=1;}					//Flag data received

								if(ModBUS_Check(mb_eth._MBUS_RCVD, mb_eth._n_MBUS_RCVD))		//Ckecks ModBUS type data
								{
									ModBUS(&mb_eth);										//ModBUS protocol execution
									CopiaVector(ETH.data, mb_eth._MBUS_2SND, mb_eth._n_MBUS_2SND, 0, ADC_VAL);
								}
								else
								{
									if (ETH_DBG_EN) ITM0_Write("\r\n NO MBUS \r\n",strlen("\r\n\r\n NO MBUS \r\n\r\n"));
								}

								send_size=mb_eth._n_MBUS_2SND;  //ModBUS data qty

								eth_wr_SOCKET_DATA(&ETH,0, &tx_mem_pointer, send_size);	// write socket data
								SPI_ETH_WR_REG_16(&ETH,0x424,tx_mem_pointer);			// write tx memory pointer
								eth_wr_SOCKET_CMD(&ETH,0,SEND);							// write command to execute
								while(eth_rd_SOCKET_CMD(&ETH,0))						// wait until end of command execution
								{}

							}
					}
					else	// Puerto ethernet labura como esclavo, se conecta al server para pedir datos
					{

						if (mb_eth._w_answer==0)
						{
							//Si ya envié vuelvo a enviar

							ETH.data[0]=0x00;
							ETH.data[1]=0x00;
							ETH.data[2]=0x00;
							ETH.data[3]=0x00;
							ETH.data[4]=0x00;
							ETH.data[5]=0x06;
							ETH.data[6]=0x01;
							ETH.data[7]=0x03;
							ETH.data[8]=0x00;
							ETH.data[9]=0x00;
							ETH.data[10]=0x00;
							ETH.data[11]=0x0A;
							send_size=12;

							ModBUS_F03_Request(&mb_eth,0,15);
							CopiaVector(ETH.data, mb_eth._MBUS_2SND, 12, 0, ADC_VAL );

							eth_wr_SOCKET_DATA(&ETH,0, &tx_mem_pointer, send_size);	// write socket data
							SPI_ETH_WR_REG_16(&ETH,0x424,tx_mem_pointer);			// write tx memory pointer
							eth_wr_SOCKET_CMD(&ETH,0,SEND);							// write command to execute
							while(eth_rd_SOCKET_CMD(&ETH,0))						// wait until end of command execution
							{}
							mb_eth._w_answer=1;	// Waiting answer flag
							MB_TOUT_ticks=0;	// restart counting
							if (ETH_DBG_EN) ITM0_Write("\r\n SENT MBUS REQ \r\n",strlen("\r\n\r\n SENT MBUS REQ \r\n\r\n"));
						}
						else
						{
						S0_get_size = SPI_ETH_REG(&ETH, S0_RX_SZ_ADDR_BASEHH,S0_RX_SZ_ADDR_BASEHL ,SPI_READ, spi_Data,2);
							if(S0_get_size != 0x00)
							{
								eth_rd_SOCKET_DATA(&ETH,0,&rx_mem_pointer,S0_get_size); // read socket data
								SPI_ETH_WR_REG_16(&ETH,S0_RX_RD0,rx_mem_pointer );		// write rx memory pointer
								eth_wr_SOCKET_CMD(&ETH,0,RECV);							// write command to execute
								while(eth_rd_SOCKET_CMD(&ETH,0))						// wait until end of command execution
								{}

								CopiaVector(mb_eth._MBUS_RCVD, ETH.data, S0_get_size, 0, ADC_VAL );
								mb_eth._n_MBUS_RCVD=S0_get_size;

								if(S0_get_size > 0)	{ ETH.S0_data_available=1;}

								if(ModBUS_Check(mb_eth._MBUS_RCVD, mb_eth._n_MBUS_RCVD))		//Ckecks ModBUS type data
									{
										mb_eth._w_answer=0;  									//Si el mensaje recibido ya es modbus digo que ya recibi
										MB_TOUT_ticks=0;
										ModBUS(&mb_eth);										//ModBUS protocol execution
										//CopiaVector(ETH.data, mb_eth._MBUS_2SND, mb_eth._n_MBUS_2SND, 0, ADC_VAL);
										CopiaVector(ETH.swap, mb_eth._MBUS_RCVD, mb_eth._n_MBUS_RCVD, 0, ADC_VAL);
										CopiaVector(mb_wf._Holding_Registers, mb_eth._Holding_Registers, 64, 0, ADC_VAL);
										if (ETH_DBG_EN) ITM0_Write("\r\n RCVD MBUS REQ \r\n",strlen("\r\n\r\n RCVD MBUS REQ \r\n\r\n"));
									}
									else
										{
										if (ETH_DBG_EN) ITM0_Write("\r\n NO MBUS \r\n",strlen("\r\n\r\n NO MBUS \r\n\r\n"));
										}

							}
						}
					}
				 }
			 break;
			 case SOCK_FIN_WAIT :
				 {
					 if (ETH_DBG_EN) ITM0_Write("\r\nS0_SOCK_FIN_WAIT \r\n",strlen("\r\nS0_SOCK_FIN_WAIT \r\n"));
					 ETH.ETH_WDG=0;
				 }
			 break;
			 case SOCK_CLOSING :
				 {
					 if (ETH_DBG_EN) ITM0_Write("\r\nS0_SOCK_CLOSING \r\n",strlen("\r\nS0_SOCK_CLOSING \r\n"));
					 ETH.ETH_WDG=0;
				 }
			 break;
			 case  SOCK_TIME_WAIT :
				 {
					 if (ETH_DBG_EN) ITM0_Write("\r\nS0_SOCK_TIME_WAIT \r\n",strlen("\r\nS0_SOCK_TIME_WAIT \r\n"));
					eth_wr_SOCKET_CMD(&ETH,0, DISCON );
					while( SPI_ETH_REG(&ETH, S0_CR_ADDR_BASEH,S0_CR_ADDR_BASEL ,SPI_READ, spi_Data,1))
					{}
					ETH.ETH_WDG=0;
				 }
			 break;
			 case SOCK_CLOSE_WAIT :
				 {
					 if (ETH_DBG_EN) ITM0_Write("\r\nS0_SOCK_CLOSE_WAIT \r\n",strlen("\r\nS0_SOCK_CLOSE_WAIT \r\n"));
					eth_wr_SOCKET_CMD(&ETH,0,DISCON );
					while( SPI_ETH_REG(&ETH, S0_CR_ADDR_BASEH,S0_CR_ADDR_BASEL ,SPI_READ, spi_Data,1))
					{}
					ETH.ETH_WDG=0;
				 }
			 break;
			 case SOCK_LAST_ACK :
				 {
					 if (ETH_DBG_EN) ITM0_Write("\r\nS0_SOCK_LAST_ACK \r\n",strlen("\r\nS0_SOCK_LAST_ACK \r\n"));
					 ETH.ETH_WDG=0;
				 }
			 break;
			 case SOCK_UDP :
				 {
					 if (ETH_DBG_EN) ITM0_Write("\r\nS0_SOCK_UDP \r\n",strlen("\r\nS0_SOCK_UDP \r\n"));
					 ETH.ETH_WDG=0;
				 }
			 break;
			 case  SOCK_IPRAW :
				 {
					 if (ETH_DBG_EN) ITM0_Write("\r\nS0_SOCK_IPRAW \r\n",strlen("\r\nS0_SOCK_IPRAW \r\n"));
					 ETH.ETH_WDG=0;
				 }
			 break;
			 case  SOCK_MACRAW :
				 {
					 if (ETH_DBG_EN) ITM0_Write("\r\nS0_SOCK_MACRAW \r\n",strlen("\r\nS0_SOCK_MACRAW \r\n"));
					 ETH.ETH_WDG=0;
				 }
			 break;
			 case SOCK_PPOE :
				 {
					 if (ETH_DBG_EN) ITM0_Write("\r\nS0_SOCK_PPOE \r\n",strlen("\r\nS0_SOCK_PPOE \r\n"));
					 ETH.ETH_WDG=0;
				 }
			 break;

			 default:
				 {

				 }
	     }
	  }
	  }else
	  	  {
		  //ETH.operacion=SPI_READ;
		  //ETH.TX[3]=0x00;
		  SPI_ETH(&ETH);
	  	  }
	  if(min_ticks==2)//if(min_ticks==10)
		  {
		  	  min_ticks=0;  /* SETEO CADA 2 min*/
		  }
  }

	if(EN_UART1_TMR==1) UART1_ticks++;

	if(UART1_ticks>=2)//if(UART1_ticks>=10)
	{
		UART1_ticks=0;
		FLAG_UART1=1;
		EN_UART1_TMR=0;
		items_rx=uart1pass;
		uart1pass=0;
	}

  /* USER CODE END SysTick_IRQn 0 */
  HAL_IncTick();
  /* USER CODE BEGIN SysTick_IRQn 1 */
	if(wf._estado_conexion==4)//if((wf._estado_conexion!=1)&&(wf._estado_conexion!=2)&&(resultado!=20)&&(resultado!=24)) //Solo cuento cuando no estahaciendo otra cosa
	{
		ticks++;
	}
	else
	{
		ticks=0;
	}

if(wf._ejecucion==1)
	{
		if (FLAG_TIMEOUT!=1)
		{
			if(wf._instruccion!=2) wf._ticks++;//-----------------------Solo cuento una vez reconcido el timeout, cuando entro al timeout no cuento
			if(wf._instruccion==2) wf._ticks2++;
		}

		if ((wf._instruccion!=2)&&(wf._ticks > 5500)) //if (wf._ticks > 5000)
		{
			FLAG_TIMEOUT=1;
			if(huart4.Instance->CR1 == 0x200C)  //--------------------Evito error UART colgado
			{
				HAL_UART_Receive_IT(&huart4,(uint8_t *)UART_RX_byte,1);
				EN_UART2_TMR=0; //OBS-VER Para que me vuelva a habilitar el timer
			}
			//wf._ticks=0;
		}
		if ((wf._instruccion==2)&&(wf._ticks2 > 20500)) //if (wf._ticks > 5000)
		{
			FLAG_TIMEOUT=1;
			if(huart4.Instance->CR1 == 0x200C)  //--------------------Evito error UART colgado
			{
				HAL_UART_Receive_IT(&huart4,(uint8_t *)UART_RX_byte,1);
				EN_UART2_TMR=0; //OBS-VER Para que me vuelva a habilitar el timer
			}
			//wf._ticks=0;
		}

	}
	else
	{
		wf._ticks=0;
	}
  /* USER CODE END SysTick_IRQn 1 */
}
void HAL_UART_ErrorCallback(UART_HandleTypeDef *huart4)
{
	 volatile int aore=0;
	 volatile int bore=0;

	// if ( UART_FLAG_ORE == HAL_UART_GetError(huart4))
	//{
	//Al leer los registros de esta forma SR y luego DR se resetean los errores de Framing Noise y Overrun FE NE ORE
	//}
	 	 wf._debug_count9++;
		aore=huart4->Instance->SR;
		bore=huart4->Instance->DR;

	//HAL_UART_Transmit_IT(&huart5,"U4",strlen("U4"));
	 HAL_UART_DeInit(huart4);
	 MX_UART4_Init();
	 HAL_UART_Receive_IT(huart4,(uint8_t *)UART_RX_byte,1);
}

void HAL_TIM_ErrorCallback(TIM_HandleTypeDef *htim2)
{

		wf._debug_count10++;

}

void HAL_UART_RxCpltCallback(UART_HandleTypeDef *INTSERIE)
{

	if(INTSERIE->Instance==UART5)
	 {
		EN_UART1_TMR=1;									//Habilito Timeout de software
		UART1_ticks=0;										//Reseteo Timer
		datarx_uart1[uart1pass]=datarx1[0];
		uart1pass++;
		if(uart1pass>=512) uart1pass=512;									//limito el vector para evitar que cuelgue el micro
		HAL_UART_Receive_IT(INTSERIE,(uint8_t *)datarx1,1);
	 }

	if(INTSERIE->Instance==UART4)
		 {
			UART_RX_vect[UART_RX_pos]=UART_RX_byte[0];
			UART_RX_pos++;
			if(UART_RX_pos>=512) UART_RX_pos=512;
			HAL_TIM_OC_Start_IT(&htim2, TIM_CHANNEL_1);//HAL_TIM_Base_Start_IT(&htim7);	//Habilito el timer
			TIM2->CNT=1;
			EN_UART2_TMR=1;	//Habilito Timeout de software
			HAL_UART_Receive_IT(INTSERIE,(uint8_t *)UART_RX_byte,1);
		 }

 }

void HAL_TIM_OC_DelayElapsedCallback(TIM_HandleTypeDef *htim2)
	{
		 HAL_TIM_OC_Stop_IT(htim2, TIM_CHANNEL_1); //Paro el timer
		 FLAG_UART2=1;
		 EN_UART2_TMR=0;
		 UART_RX_items=UART_RX_pos;
		 UART_RX_pos=0;
		 UART_RX_vect[512]='\0'; //Finalizo el vector a la fuerza ya que recibo hasta 124
		 CopiaVector(UART_RX_vect_hld,UART_RX_vect,UART_RX_items,1,CMP_VECT);
		 HAL_UART_Receive_IT(&huart4,(uint8_t *)UART_RX_byte,1); //Habilito le recepcón de puerto serie al terminar

		 if (wf._DBG_EN==1)
		 {
			 ITM0_Write((uint8_t *)UART_RX_vect_hld,UART_RX_items);
		 }

}
/*void Actualizar_RXdata(int x)
 {

	 if (x==1)
	 {
		int h=0;													//Borro el vector vectrx
		while(h<512)
				{
						RXdata_uart1[h]=0;
						h++;
				}
		h=0;
		while(h<items_rx)								//Copio el vector recibido en vectrx
			{
						RXdata_uart1[h]=datarx_uart1[h];
						h++;
			}
		}
	 if (x==2)
	 {
		int h2=0;													//Borro el vector vectrx
		/*while(h2<512)
				{
						UART_RX_vect[h2]=0;
						h2++;
				}
		h2=0;
		while(h2<UART_RX_items)								//Copio el vector recibido en vectrx
			{
						UART_RX_vect[h2]=UART_RX_vect[h2];
						h2++;
			}
		}
 }*/

void ESP8266_HW_Reset(void)
{
	  ESP_REinit=0;
	  HAL_GPIO_WritePin(GPIOA, GPIO_PIN_15, GPIO_PIN_RESET);
	  HAL_Delay(2000);											//Tiempo de reset del módulo
	  HAL_GPIO_WritePin(GPIOA, GPIO_PIN_15, GPIO_PIN_SET);		//Habilito módulo
}
uint8_t ESP8266_HW_Init(UART_HandleTypeDef *SerialPort) //Devuelve 1 si reinició OK, y 0 si no
{
	  do{
		  HAL_UART_Transmit(SerialPort, "AT+RESTORE\r\n",strlen("AT+RESTORE\r\n"),100);
		  HAL_Delay(500);

		  wf._n_fcomp=strlen("ready");
		  wf._n_orig=UART_RX_items;

		  while(FT_String_ND(UART_RX_vect_hld,&wf._n_orig,"ready",&wf._n_fcomp,wf._uartRCVD_tok,&wf._n_tok,&ntestc,&wf._id_conn,FIND)!=1)
		  {
			  	  wf._n_orig=UART_RX_items;
			  	  if (ESP_ticks>=5000)
			  		 {
			  		 ESP_InitF=1;
			  		 break;
			  		 }
		  }

		  if(ESP_InitF==0)	//Si encontró la sentencia anterior analizo la siguiente
		  {
			  wf._n_fcomp=strlen("ready");
			  wf._n_orig=UART_RX_items;
			  while(FT_String_ND(UART_RX_vect_hld,&wf._n_orig,"ready",&wf._n_fcomp,wf._uartRCVD_tok,&wf._n_tok,&ntestc,&wf._id_conn,FIND)!=1)
			  {
				  wf._n_orig=UART_RX_items;
				  if (ESP_ticks>=5000)
					 {
					 break;
					 }
			  }
		  }

		  if (ESP_ticks<5000)
		  {
			  ESP_REinit=10;
			  ESP_ticks=0;
		  }
		  else
		  {
			  ESP_REinit++;
			  ESP_ticks=0;
		  }

	  } while (ESP_REinit<=5);

	  if(ESP_REinit==10)
	  {
		  return(1);
	  }
	  else
	  {
		  return(0);
	  }
}
void BorrarVect(void)
{
	wf._uartRCVD[0]='\0';
	wf._uartRCVD[1]='\0';
	wf._n_orig=2;
}
/* USER CODE END 4 */

void Error_Handler(void)
{
  __disable_irq();
  while (1)
  {
  }
}
